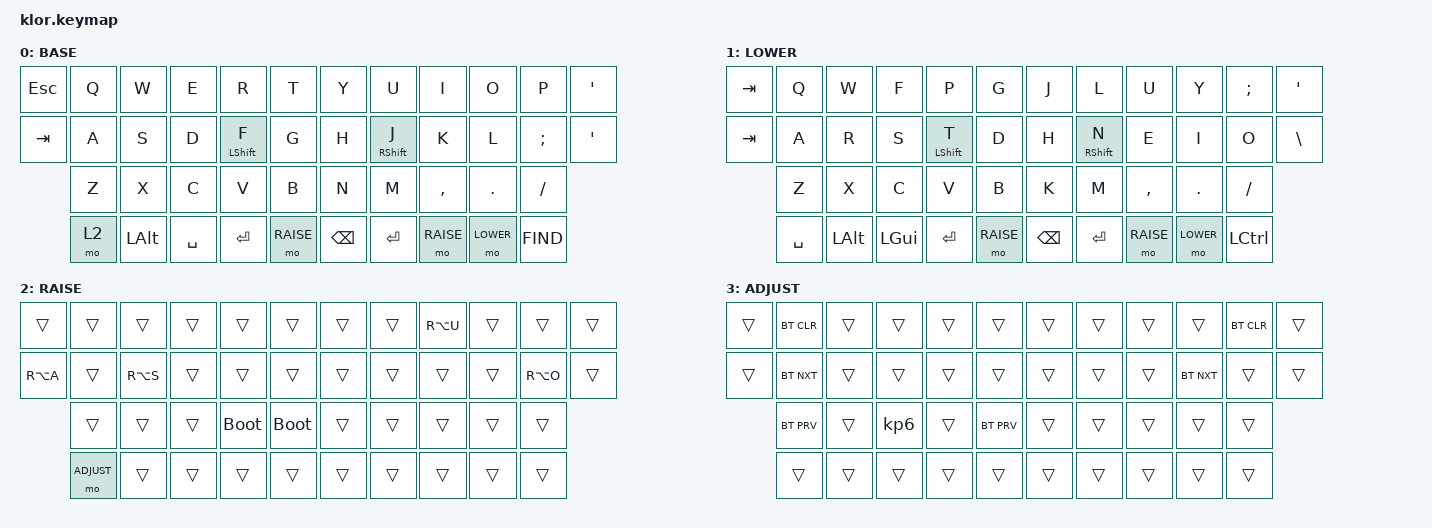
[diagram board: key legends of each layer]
#include <behaviors.dtsi>
#include <dt-bindings/zmk/bt.h>
#include <dt-bindings/zmk/keys.h>

#define BASE   0
#define LOWER  1
#define RAISE  2
#define ADJUST 3

/ {
    behaviors {
        hm: homerow_mods {
            compatible = "zmk,behavior-hold-tap";
            label = "HOMEROW_MODS";
            #binding-cells = <2>;
            tapping-term-ms = <150>;
            quick_tap_ms = <0>;
            flavor = "tap-preferred";
            bindings = <&kp>, <&kp>;
        };
    };

    combos {
        compatible = "zmk,combos";

        combo_esc {
            timeout-ms = <50>;
            key-positions = <0 1>;
            bindings = <&kp ESC>;
        };
    };

    keymap {
        compatible = "zmk,keymap";

        base_layer {
            label = "BASE";
            bindings = <
&kp ESC  &kp Q  &kp W     &kp E      &kp R        &kp T        &kp Y     &kp U        &kp I      &kp O      &kp P          &kp SQT
&kp TAB  &kp A  &kp S     &kp D      &hm LSHFT F  &kp G        &kp H     &hm RSHFT J  &kp K      &kp L      &kp SEMICOLON  &kp SINGLE_QUOTE
         &kp Z  &kp X     &kp C      &kp V        &kp B        &kp N     &kp M        &kp COMMA  &kp DOT    &kp FSLH       
         &mo 2  &kp LALT  &kp SPACE  &kp RET      &mo RAISE    &kp BSPC  &kp RET      &mo RAISE  &mo LOWER  &kp K_FIND
            >;
        };

        lower_layer {
            label = "LOWER";
            bindings = <
&kp TAB  &kp Q      &kp W     &kp F     &kp P        &kp G        &kp J     &kp L        &kp U      &kp Y      &kp SEMI  &kp SQT
&kp TAB  &kp A      &kp R     &kp S     &hm LSHFT T  &kp D        &kp H     &hm RSHFT N  &kp E      &kp I      &kp O     &kp BSLH
         &kp Z      &kp X     &kp C     &kp V        &kp B        &kp K     &kp M        &kp COMMA  &kp DOT    &kp FSLH  
         &kp SPACE  &kp LALT  &kp LGUI  &kp RET      &mo RAISE    &kp BSPC  &kp RET      &mo RAISE  &mo LOWER  &kp LCTRL
            >;
        };

        raise_layer {
            label = "RAISE";
            bindings = <
&trans     &trans      &trans     &trans  &trans       &trans         &trans  &trans  &kp RA(U)  &trans  &trans     &trans
&kp RA(A)  &trans      &kp RA(S)  &trans  &trans       &trans         &trans  &trans  &trans     &trans  &kp RA(O)  &trans
           &trans      &trans     &trans  &bootloader  &bootloader    &trans  &trans  &trans     &trans  &trans     
           &mo ADJUST  &trans     &trans  &trans       &trans         &trans  &trans  &trans     &trans  &trans
            >;
        };

        adjust_layer {
            label = "ADJUST";
            bindings = <
&trans  &bt BT_CLR  &trans  &trans     &trans  &trans        &trans  &trans  &trans  &trans      &bt BT_CLR  &trans
&trans  &bt BT_NXT  &trans  &trans     &trans  &trans        &trans  &trans  &trans  &bt BT_NXT  &trans      &trans
        &bt BT_PRV  &trans  &kp KP_N6  &trans  &bt BT_PRV    &trans  &trans  &trans  &trans      &trans      
        &trans      &trans  &trans     &trans  &trans        &trans  &trans  &trans  &trans      &trans
            >;
        };
    };
};
